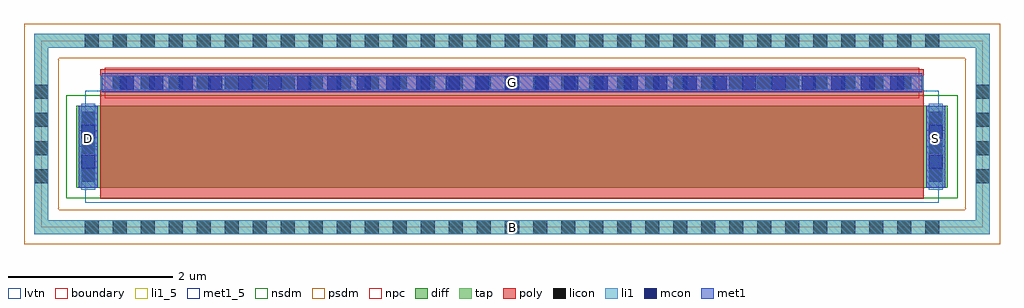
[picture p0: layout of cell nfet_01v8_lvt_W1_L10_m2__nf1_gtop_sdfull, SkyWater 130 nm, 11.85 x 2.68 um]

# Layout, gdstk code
import gdstk
lib = gdstk.Library(unit=1e-6, precision=1e-09)
def R(c, l, rs):  # rectangles x0, y0, x1, y1
    for r in rs: c.add(gdstk.rectangle(r[:2], r[2:], *l))
def A(c, l, x, y, w, h, nx, ny, dx, dy):  # array of equal rectangles
    R(c, l, [(x+i*dx, y+j*dy, x+i*dx+w, y+j*dy+h) for i in range(nx) for j in range(ny)])
diff = (65, 20)
tap = (65, 44)
poly = (66, 20)
licon = (66, 44)
li1_5 = (67, 5)
li1 = (67, 20)
mcon = (67, 44)
met1_5 = (68, 5)
met1 = (68, 20)
nsdm = (93, 44)
psdm = (94, 20)
npc = (95, 20)
lvtn = (125, 44)
boundary = (235, 4)

sky130_fd_pr__nfet_01v8_ = lib.new_cell('sky130_fd_pr__nfet_01v8_lvt_C6XJSD')
R(sky130_fd_pr__nfet_01v8_, diff, [(-5.29,-0.655,5.29,0.345)])
R(sky130_fd_pr__nfet_01v8_, tap, [(-5.8,-1.215,5.8,-1.045), (-5.8,-1.045,-5.63,1.045), (5.63,-1.045,5.8,1.045), (-5.8,1.045,5.8,1.215)])
R(sky130_fd_pr__nfet_01v8_, poly, [(-5,-0.785,5,0.785)])
A(sky130_fd_pr__nfet_01v8_, licon, -5.185, -1.215, 0.17, 0.17, 31, 2, 0.34, 2.26)
A(sky130_fd_pr__nfet_01v8_, licon, -5.8, -0.595, 0.17, 0.17, 1, 4, 0, 0.34)
A(sky130_fd_pr__nfet_01v8_, licon, 5.63, -0.595, 0.17, 0.17, 1, 4, 0, 0.34)
A(sky130_fd_pr__nfet_01v8_, licon, -5.23, -0.58, 0.17, 0.17, 1, 3, 0, 0.34)
A(sky130_fd_pr__nfet_01v8_, licon, 5.06, -0.58, 0.17, 0.17, 1, 3, 0, 0.34)
A(sky130_fd_pr__nfet_01v8_, licon, -4.845, 0.535, 0.17, 0.17, 29, 1, 0.34, 0)
R(sky130_fd_pr__nfet_01v8_, li1, [(-5.8,-1.215,5.8,-1.045), (-5.8,-1.045,-5.63,1.045), (5.63,-1.045,5.8,1.045), (-5.23,-0.675,-5.06,0.365), (5.06,-0.675,5.23,0.365), (-5,0.535,5,0.705), (-5.8,1.045,5.8,1.215)])
A(sky130_fd_pr__nfet_01v8_, mcon, -4.765, 0.535, 0.17, 0.17, 27, 1, 0.36, 0)
R(sky130_fd_pr__nfet_01v8_, mcon, [(-5.23,-0.42,-5.06,-0.25), (5.06,-0.42,5.23,-0.25), (-5.23,-0.06,-5.06,0.11), (5.06,-0.06,5.23,0.11)])
R(sky130_fd_pr__nfet_01v8_, met1, [(-5.26,-0.655,-5.03,0.345), (5.03,-0.655,5.26,0.345), (-4.98,0.505,4.98,0.735)])
R(sky130_fd_pr__nfet_01v8_, nsdm, [(-5.415,-0.78,5.415,0.47)])
R(sky130_fd_pr__nfet_01v8_, psdm, [(-5.925,-1.34,5.925,-0.92), (-5.925,-0.92,-5.505,0.92), (5.505,-0.92,5.925,0.92), (-5.925,0.92,5.925,1.34)])
R(sky130_fd_pr__nfet_01v8_, npc, [(-4.945,0.435,4.945,0.805)])
R(sky130_fd_pr__nfet_01v8_, lvtn, [(-5.18,-0.835,5.18,0.525)])
R(sky130_fd_pr__nfet_01v8_, boundary, [(-5.715,-1.13,5.715,1.13)])
sky130_fd_pr__nfet_01v8_.add(gdstk.Label('B', (0,-1.13), layer=67, texttype=5))
sky130_fd_pr__nfet_01v8_.add(gdstk.Label('D', (-5.145,-0.155), layer=67, texttype=5))
sky130_fd_pr__nfet_01v8_.add(gdstk.Label('S', (5.145,-0.155), layer=67, texttype=5))
sky130_fd_pr__nfet_01v8_.add(gdstk.Label('G', (0,0.62), layer=67, texttype=5))

nfet_01v8_lvt_w1_l10_m2_ = lib.new_cell('nfet_01v8_lvt_W1_L10_m2__nf1_gtop_sdfull')
R(nfet_01v8_lvt_w1_l10_m2_, li1_5, [(5.63,-0.085,5.8,0.085)])
R(nfet_01v8_lvt_w1_l10_m2_, li1, [(5.63,-0.085,5.8,0.085)])
R(nfet_01v8_lvt_w1_l10_m2_, met1_5, [(0.455,0.975,0.685,1.175), (10.745,0.975,10.975,1.175), (0.735,1.635,10.695,1.865)])
R(nfet_01v8_lvt_w1_l10_m2_, met1, [(0.455,0.975,0.685,1.175), (10.745,0.975,10.975,1.175), (0.735,1.635,10.695,1.865)])
nfet_01v8_lvt_w1_l10_m2_.add(gdstk.Reference(sky130_fd_pr__nfet_01v8_, (5.715,1.13)))
nfet_01v8_lvt_w1_l10_m2_.add(gdstk.Label('D', (0.57,1.075), layer=68, texttype=5))
nfet_01v8_lvt_w1_l10_m2_.add(gdstk.Label('S', (10.86,1.075), layer=68, texttype=5))
nfet_01v8_lvt_w1_l10_m2_.add(gdstk.Label('G', (5.715,1.75), layer=68, texttype=5))
nfet_01v8_lvt_w1_l10_m2_.add(gdstk.Label('B', (5.715,0), layer=67, texttype=5))

lib.write_gds('nfet_01v8_lvt_W1_L10_m2__nf1_gtop_sdfull.gds')
